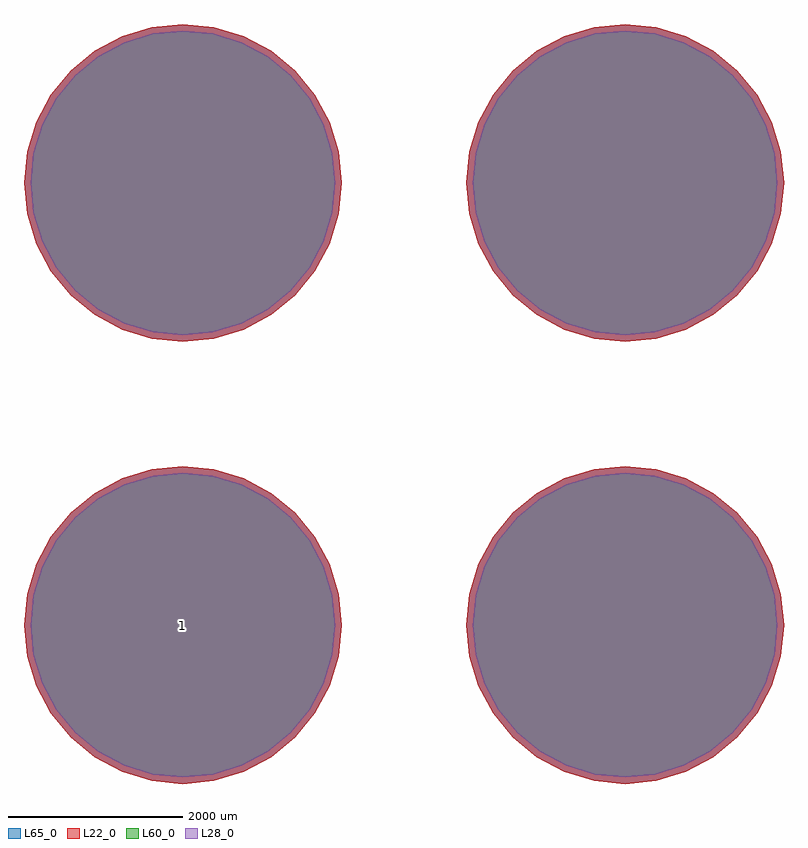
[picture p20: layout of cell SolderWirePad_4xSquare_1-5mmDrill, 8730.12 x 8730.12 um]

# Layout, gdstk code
import gdstk
lib = gdstk.Library(unit=1e-6, precision=1e-09)
def P(c, l, *ps):  # polygons
    for p in ps: c.add(gdstk.Polygon(p, *l))
L22_0 = (22, 0)
L28_0 = (28, 0)
L60_0 = (60, 0)
L65_0 = (65, 0)

solderwirepad_4xsquare_1 = lib.new_cell('SolderWirePad_4xSquare_1-5mmDrill')
P(solderwirepad_4xsquare_1, L22_0, [(4365.06,2540),(4329.992,2896.052),(4226.136,3238.42),(4057.482,3553.949),(3830.512,3830.512),(3553.949,4057.482),(3238.42,4226.136),(2896.052,4329.992),(2540,4365.06),(2183.948,4329.992),(1841.58,4226.136),(1526.051,4057.482),(1249.488,3830.512),(1022.518,3553.949),(853.864,3238.42),(750.008,2896.052),(714.94,2540),(750.008,2183.948),(853.864,1841.58),(1022.518,1526.051),(1249.488,1249.488),(1526.051,1022.518),(1841.58,853.864),(2183.948,750.008),(2540,714.94),(2896.052,750.008),(3238.42,853.864),(3553.949,1022.518),(3830.512,1249.488),(4057.482,1526.051),(4226.136,1841.58),(4329.992,2183.948)],
  [(-714.94,2540),(-750.008,2896.052),(-853.864,3238.42),(-1022.518,3553.949),(-1249.488,3830.512),(-1526.051,4057.482),(-1841.58,4226.136),(-2183.948,4329.992),(-2540,4365.06),(-2896.052,4329.992),(-3238.42,4226.136),(-3553.949,4057.482),(-3830.512,3830.512),(-4057.482,3553.949),(-4226.136,3238.42),(-4329.992,2896.052),(-4365.06,2540),(-4329.992,2183.948),(-4226.136,1841.58),(-4057.482,1526.051),(-3830.512,1249.488),(-3553.949,1022.518),(-3238.42,853.864),(-2896.052,750.008),(-2540,714.94),(-2183.948,750.008),(-1841.58,853.864),(-1526.051,1022.518),(-1249.488,1249.488),(-1022.518,1526.051),(-853.864,1841.58),(-750.008,2183.948)],
  [(4365.06,-2540),(4329.992,-2183.948),(4226.136,-1841.58),(4057.482,-1526.051),(3830.512,-1249.488),(3553.949,-1022.518),(3238.42,-853.864),(2896.052,-750.008),(2540,-714.94),(2183.948,-750.008),(1841.58,-853.864),(1526.051,-1022.518),(1249.488,-1249.488),(1022.518,-1526.051),(853.864,-1841.58),(750.008,-2183.948),(714.94,-2540),(750.008,-2896.052),(853.864,-3238.42),(1022.518,-3553.949),(1249.488,-3830.512),(1526.051,-4057.482),(1841.58,-4226.136),(2183.948,-4329.992),(2540,-4365.06),(2896.052,-4329.992),(3238.42,-4226.136),(3553.949,-4057.482),(3830.512,-3830.512),(4057.482,-3553.949),(4226.136,-3238.42),(4329.992,-2896.052)],
  [(-714.94,-2540),(-750.008,-2183.948),(-853.864,-1841.58),(-1022.518,-1526.051),(-1249.488,-1249.488),(-1526.051,-1022.518),(-1841.58,-853.864),(-2183.948,-750.008),(-2540,-714.94),(-2896.052,-750.008),(-3238.42,-853.864),(-3553.949,-1022.518),(-3830.512,-1249.488),(-4057.482,-1526.051),(-4226.136,-1841.58),(-4329.992,-2183.948),(-4365.06,-2540),(-4329.992,-2896.052),(-4226.136,-3238.42),(-4057.482,-3553.949),(-3830.512,-3830.512),(-3553.949,-4057.482),(-3238.42,-4226.136),(-2896.052,-4329.992),(-2540,-4365.06),(-2183.948,-4329.992),(-1841.58,-4226.136),(-1526.051,-4057.482),(-1249.488,-3830.512),(-1022.518,-3553.949),(-853.864,-3238.42),(-750.008,-2896.052)])
P(solderwirepad_4xsquare_1, L28_0, [(4290.06,2540),(4256.433,2881.42),(4156.845,3209.719),(3995.122,3512.281),(3777.479,3777.479),(3512.281,3995.122),(3209.719,4156.845),(2881.42,4256.433),(2540,4290.06),(2198.58,4256.433),(1870.281,4156.845),(1567.719,3995.122),(1302.521,3777.479),(1084.878,3512.281),(923.155,3209.719),(823.567,2881.42),(789.94,2540),(823.567,2198.58),(923.155,1870.281),(1084.878,1567.719),(1302.521,1302.521),(1567.719,1084.878),(1870.281,923.155),(2198.58,823.567),(2540,789.94),(2881.42,823.567),(3209.719,923.155),(3512.281,1084.878),(3777.479,1302.521),(3995.122,1567.719),(4156.845,1870.281),(4256.433,2198.58)],
  [(-789.94,2540),(-823.567,2881.42),(-923.155,3209.719),(-1084.878,3512.281),(-1302.521,3777.479),(-1567.719,3995.122),(-1870.281,4156.845),(-2198.58,4256.433),(-2540,4290.06),(-2881.42,4256.433),(-3209.719,4156.845),(-3512.281,3995.122),(-3777.479,3777.479),(-3995.122,3512.281),(-4156.845,3209.719),(-4256.433,2881.42),(-4290.06,2540),(-4256.433,2198.58),(-4156.845,1870.281),(-3995.122,1567.719),(-3777.479,1302.521),(-3512.281,1084.878),(-3209.719,923.155),(-2881.42,823.567),(-2540,789.94),(-2198.58,823.567),(-1870.281,923.155),(-1567.719,1084.878),(-1302.521,1302.521),(-1084.878,1567.719),(-923.155,1870.281),(-823.567,2198.58)],
  [(4290.06,-2540),(4256.433,-2198.58),(4156.845,-1870.281),(3995.122,-1567.719),(3777.479,-1302.521),(3512.281,-1084.878),(3209.719,-923.155),(2881.42,-823.567),(2540,-789.94),(2198.58,-823.567),(1870.281,-923.155),(1567.719,-1084.878),(1302.521,-1302.521),(1084.878,-1567.719),(923.155,-1870.281),(823.567,-2198.58),(789.94,-2540),(823.567,-2881.42),(923.155,-3209.719),(1084.878,-3512.281),(1302.521,-3777.479),(1567.719,-3995.122),(1870.281,-4156.845),(2198.58,-4256.433),(2540,-4290.06),(2881.42,-4256.433),(3209.719,-4156.845),(3512.281,-3995.122),(3777.479,-3777.479),(3995.122,-3512.281),(4156.845,-3209.719),(4256.433,-2881.42)],
  [(-789.94,-2540),(-823.567,-2198.58),(-923.155,-1870.281),(-1084.878,-1567.719),(-1302.521,-1302.521),(-1567.719,-1084.878),(-1870.281,-923.155),(-2198.58,-823.567),(-2540,-789.94),(-2881.42,-823.567),(-3209.719,-923.155),(-3512.281,-1084.878),(-3777.479,-1302.521),(-3995.122,-1567.719),(-4156.845,-1870.281),(-4256.433,-2198.58),(-4290.06,-2540),(-4256.433,-2881.42),(-4156.845,-3209.719),(-3995.122,-3512.281),(-3777.479,-3777.479),(-3512.281,-3995.122),(-3209.719,-4156.845),(-2881.42,-4256.433),(-2540,-4290.06),(-2198.58,-4256.433),(-1870.281,-4156.845),(-1567.719,-3995.122),(-1302.521,-3777.479),(-1084.878,-3512.281),(-923.155,-3209.719),(-823.567,-2881.42)])
P(solderwirepad_4xsquare_1, L60_0, [(4290.06,2540),(4256.433,2881.42),(4156.845,3209.719),(3995.122,3512.281),(3777.479,3777.479),(3512.281,3995.122),(3209.719,4156.845),(2881.42,4256.433),(2540,4290.06),(2198.58,4256.433),(1870.281,4156.845),(1567.719,3995.122),(1302.521,3777.479),(1084.878,3512.281),(923.155,3209.719),(823.567,2881.42),(789.94,2540),(823.567,2198.58),(923.155,1870.281),(1084.878,1567.719),(1302.521,1302.521),(1567.719,1084.878),(1870.281,923.155),(2198.58,823.567),(2540,789.94),(2881.42,823.567),(3209.719,923.155),(3512.281,1084.878),(3777.479,1302.521),(3995.122,1567.719),(4156.845,1870.281),(4256.433,2198.58)],
  [(-789.94,2540),(-823.567,2881.42),(-923.155,3209.719),(-1084.878,3512.281),(-1302.521,3777.479),(-1567.719,3995.122),(-1870.281,4156.845),(-2198.58,4256.433),(-2540,4290.06),(-2881.42,4256.433),(-3209.719,4156.845),(-3512.281,3995.122),(-3777.479,3777.479),(-3995.122,3512.281),(-4156.845,3209.719),(-4256.433,2881.42),(-4290.06,2540),(-4256.433,2198.58),(-4156.845,1870.281),(-3995.122,1567.719),(-3777.479,1302.521),(-3512.281,1084.878),(-3209.719,923.155),(-2881.42,823.567),(-2540,789.94),(-2198.58,823.567),(-1870.281,923.155),(-1567.719,1084.878),(-1302.521,1302.521),(-1084.878,1567.719),(-923.155,1870.281),(-823.567,2198.58)],
  [(4290.06,-2540),(4256.433,-2198.58),(4156.845,-1870.281),(3995.122,-1567.719),(3777.479,-1302.521),(3512.281,-1084.878),(3209.719,-923.155),(2881.42,-823.567),(2540,-789.94),(2198.58,-823.567),(1870.281,-923.155),(1567.719,-1084.878),(1302.521,-1302.521),(1084.878,-1567.719),(923.155,-1870.281),(823.567,-2198.58),(789.94,-2540),(823.567,-2881.42),(923.155,-3209.719),(1084.878,-3512.281),(1302.521,-3777.479),(1567.719,-3995.122),(1870.281,-4156.845),(2198.58,-4256.433),(2540,-4290.06),(2881.42,-4256.433),(3209.719,-4156.845),(3512.281,-3995.122),(3777.479,-3777.479),(3995.122,-3512.281),(4156.845,-3209.719),(4256.433,-2881.42)],
  [(-789.94,-2540),(-823.567,-2198.58),(-923.155,-1870.281),(-1084.878,-1567.719),(-1302.521,-1302.521),(-1567.719,-1084.878),(-1870.281,-923.155),(-2198.58,-823.567),(-2540,-789.94),(-2881.42,-823.567),(-3209.719,-923.155),(-3512.281,-1084.878),(-3777.479,-1302.521),(-3995.122,-1567.719),(-4156.845,-1870.281),(-4256.433,-2198.58),(-4290.06,-2540),(-4256.433,-2881.42),(-4156.845,-3209.719),(-3995.122,-3512.281),(-3777.479,-3777.479),(-3512.281,-3995.122),(-3209.719,-4156.845),(-2881.42,-4256.433),(-2540,-4290.06),(-2198.58,-4256.433),(-1870.281,-4156.845),(-1567.719,-3995.122),(-1302.521,-3777.479),(-1084.878,-3512.281),(-923.155,-3209.719),(-823.567,-2881.42)])
P(solderwirepad_4xsquare_1, L65_0, [(4365.06,2540),(4329.992,2896.052),(4226.136,3238.42),(4057.482,3553.949),(3830.512,3830.512),(3553.949,4057.482),(3238.42,4226.136),(2896.052,4329.992),(2540,4365.06),(2183.948,4329.992),(1841.58,4226.136),(1526.051,4057.482),(1249.488,3830.512),(1022.518,3553.949),(853.864,3238.42),(750.008,2896.052),(714.94,2540),(750.008,2183.948),(853.864,1841.58),(1022.518,1526.051),(1249.488,1249.488),(1526.051,1022.518),(1841.58,853.864),(2183.948,750.008),(2540,714.94),(2896.052,750.008),(3238.42,853.864),(3553.949,1022.518),(3830.512,1249.488),(4057.482,1526.051),(4226.136,1841.58),(4329.992,2183.948)],
  [(-714.94,2540),(-750.008,2896.052),(-853.864,3238.42),(-1022.518,3553.949),(-1249.488,3830.512),(-1526.051,4057.482),(-1841.58,4226.136),(-2183.948,4329.992),(-2540,4365.06),(-2896.052,4329.992),(-3238.42,4226.136),(-3553.949,4057.482),(-3830.512,3830.512),(-4057.482,3553.949),(-4226.136,3238.42),(-4329.992,2896.052),(-4365.06,2540),(-4329.992,2183.948),(-4226.136,1841.58),(-4057.482,1526.051),(-3830.512,1249.488),(-3553.949,1022.518),(-3238.42,853.864),(-2896.052,750.008),(-2540,714.94),(-2183.948,750.008),(-1841.58,853.864),(-1526.051,1022.518),(-1249.488,1249.488),(-1022.518,1526.051),(-853.864,1841.58),(-750.008,2183.948)],
  [(4365.06,-2540),(4329.992,-2183.948),(4226.136,-1841.58),(4057.482,-1526.051),(3830.512,-1249.488),(3553.949,-1022.518),(3238.42,-853.864),(2896.052,-750.008),(2540,-714.94),(2183.948,-750.008),(1841.58,-853.864),(1526.051,-1022.518),(1249.488,-1249.488),(1022.518,-1526.051),(853.864,-1841.58),(750.008,-2183.948),(714.94,-2540),(750.008,-2896.052),(853.864,-3238.42),(1022.518,-3553.949),(1249.488,-3830.512),(1526.051,-4057.482),(1841.58,-4226.136),(2183.948,-4329.992),(2540,-4365.06),(2896.052,-4329.992),(3238.42,-4226.136),(3553.949,-4057.482),(3830.512,-3830.512),(4057.482,-3553.949),(4226.136,-3238.42),(4329.992,-2896.052)],
  [(-714.94,-2540),(-750.008,-2183.948),(-853.864,-1841.58),(-1022.518,-1526.051),(-1249.488,-1249.488),(-1526.051,-1022.518),(-1841.58,-853.864),(-2183.948,-750.008),(-2540,-714.94),(-2896.052,-750.008),(-3238.42,-853.864),(-3553.949,-1022.518),(-3830.512,-1249.488),(-4057.482,-1526.051),(-4226.136,-1841.58),(-4329.992,-2183.948),(-4365.06,-2540),(-4329.992,-2896.052),(-4226.136,-3238.42),(-4057.482,-3553.949),(-3830.512,-3830.512),(-3553.949,-4057.482),(-3238.42,-4226.136),(-2896.052,-4329.992),(-2540,-4365.06),(-2183.948,-4329.992),(-1841.58,-4226.136),(-1526.051,-4057.482),(-1249.488,-3830.512),(-1022.518,-3553.949),(-853.864,-3238.42),(-750.008,-2896.052)])
solderwirepad_4xsquare_1.add(gdstk.Label('1', (-2540,-2540), layer=28, texttype=0))
solderwirepad_4xsquare_1.add(gdstk.Label('type', (-635,-6350), layer=9, texttype=0))
solderwirepad_4xsquare_1.add(gdstk.Label('devicename', (0,5715), layer=9, texttype=0))

lib.write_gds('SolderWirePad_4xSquare_1-5mmDrill.gds')
